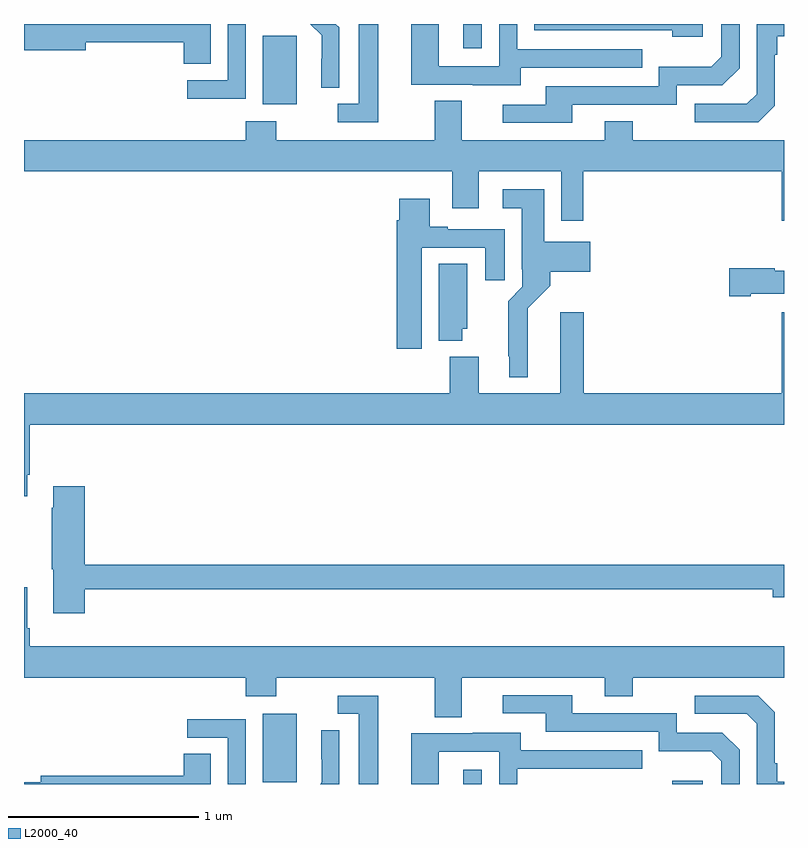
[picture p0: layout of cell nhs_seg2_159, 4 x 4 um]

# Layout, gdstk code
import gdstk
lib = gdstk.Library(unit=1e-6, precision=1e-09)
def R(c, l, rs):  # rectangles x0, y0, x1, y1
    for r in rs: c.add(gdstk.rectangle(r[:2], r[2:], *l))
def P(c, l, *ps):  # polygons
    for p in ps: c.add(gdstk.Polygon(p, *l))
L2000_40 = (2000, 40)

nhs_seg2_159 = lib.new_cell('nhs_seg2_159')
R(nhs_seg2_159, L2000_40, [(121.313,589.8,121.41,589.876), (122.411,589.8,122.572,589.816), (120.257,589.809,120.436,590.17), (120.257,593.378,120.436,593.739), (121.313,593.673,121.41,593.8)])
P(nhs_seg2_159, L2000_40, [(120.66,593.782),(120.642,593.8),(120.506,593.8),(120.566,593.741),(120.566,593.618),(120.564,593.618),(120.564,593.464),(120.66,593.464)],
  [(122.572,593.8),(121.686,593.8),(121.686,593.766),(122.411,593.766),(122.411,593.732),(122.572,593.732)],
  [(121.885,593.376),(122.436,593.376),(122.436,593.478),(122.676,593.478),(122.766,593.568),(122.766,593.8),(122.67,593.8),(122.67,593.628),(122.617,593.575),(122.34,593.575),(122.34,593.472),(121.745,593.472),(121.745,593.376),(121.521,593.376),(121.521,593.28),(121.885,593.28)],
  [(120.168,593.8),(120.072,593.8),(120.072,593.505),(119.859,593.505),(119.859,593.407),(120.168,593.407)],
  [(122.952,593.37),(122.952,593.639),(122.965,593.639),(122.965,593.735),(123,593.735),(123,593.8),(122.856,593.8),(122.856,593.43),(122.805,593.379),(122.529,593.379),(122.529,593.283),(122.865,593.283)],
  [(119.983,593.8),(119,593.8),(119,593.662),(119.326,593.662),(119.326,593.704),(119.84,593.704),(119.84,593.59),(119.983,593.59)],
  [(120.865,593.8),(120.761,593.8),(120.761,593.379),(120.651,593.379),(120.651,593.283),(120.865,593.283)],
  [(121.615,593.571),(122.255,593.571),(122.255,593.667),(121.596,593.667),(121.596,593.8),(121.5,593.8),(121.5,593.577),(121.182,593.577),(121.182,593.8),(121.037,593.8),(121.037,593.481),(121.361,593.481),(121.361,593.477),(121.615,593.477)],
  [(121.943,593.024),(122.989,593.024),(122.989,592.764),(123,592.764),(123,593.188),(122.205,593.188),(122.205,593.287),(122.057,593.287),(122.057,593.188),(121.303,593.188),(121.303,593.396),(121.163,593.396),(121.163,593.188),(120.327,593.188),(120.327,593.287),(120.167,593.287),(120.167,593.188),(119,593.188),(119,593.024),(121.253,593.024),(121.253,592.83),(121.393,592.83),(121.393,593.024),(121.827,593.024),(121.827,592.764),(121.943,592.764)],
  [(121.651,592.304),(121.769,592.422),(121.769,592.496),(121.981,592.496),(121.981,592.654),(121.738,592.654),(121.738,592.93),(121.521,592.93),(121.521,592.829),(121.619,592.829),(121.619,592.51),(121.623,592.51),(121.623,592.416),(121.549,592.342),(121.549,592.051),(121.553,592.051),(121.553,591.941),(121.651,591.941)],
  [(121.093,592.623),(121.427,592.623),(121.427,592.452),(121.531,592.452),(121.531,592.719),(121.231,592.719),(121.231,592.732),(121.135,592.732),(121.135,592.879),(120.974,592.879),(120.974,592.766),(120.962,592.766),(120.962,592.092),(121.093,592.092)],
  [(121.306,592.197),(121.333,592.197),(121.333,592.538),(121.184,592.538),(121.184,592.133),(121.306,592.133)],
  [(122.824,592.379),(123,592.379),(123,592.501),(122.952,592.501),(122.952,592.514),(122.712,592.514),(122.712,592.367),(122.824,592.367)],
  [(119.017,591.427),(119.03,591.427),(119.03,591.692),(123,591.692),(123,592.282),(122.987,592.282),(122.987,591.856),(121.946,591.856),(121.946,592.282),(121.823,592.282),(121.823,591.856),(121.393,591.856),(121.393,592.048),(121.241,592.048),(121.241,591.856),(119,591.856),(119,591.315),(119.017,591.315)],
  [(119.321,590.826),(122.942,590.826),(122.942,590.783),(123,590.783),(123,590.954),(119.321,590.954),(119.321,591.367),(119.153,591.367),(119.153,591.254),(119.146,591.254),(119.146,590.931),(119.153,590.931),(119.153,590.7),(119.321,590.7)],
  [(121.303,590.36),(122.057,590.36),(122.057,590.261),(122.205,590.261),(122.205,590.36),(123,590.36),(123,590.524),(119.03,590.524),(119.03,590.62),(119.017,590.62),(119.017,590.836),(119,590.836),(119,590.36),(120.167,590.36),(120.167,590.261),(120.327,590.261),(120.327,590.36),(121.163,590.36),(121.163,590.152),(121.303,590.152)],
  [(122.766,589.98),(122.676,590.07),(122.436,590.07),(122.436,590.172),(121.885,590.172),(121.885,590.268),(121.521,590.268),(121.521,590.172),(121.745,590.172),(121.745,590.076),(122.34,590.076),(122.34,589.973),(122.617,589.973),(122.67,589.92),(122.67,589.8),(122.766,589.8)],
  [(123,589.813),(122.965,589.813),(122.965,589.909),(122.952,589.909),(122.952,590.178),(122.865,590.265),(122.529,590.265),(122.529,590.169),(122.805,590.169),(122.856,590.118),(122.856,589.8),(123,589.8)],
  [(120.865,590.265),(120.651,590.265),(120.651,590.169),(120.761,590.169),(120.761,589.8),(120.865,589.8)],
  [(120.168,590.142),(119.859,590.142),(119.859,590.043),(120.072,590.043),(120.072,589.8),(120.168,589.8)],
  [(120.66,590.084),(120.564,590.084),(120.564,589.93),(120.566,589.93),(120.566,589.808),(120.558,589.8),(120.66,589.8)],
  [(121.182,589.971),(121.5,589.971),(121.5,589.8),(121.596,589.8),(121.596,589.881),(122.255,589.881),(122.255,589.977),(121.615,589.977),(121.615,590.071),(121.361,590.071),(121.361,590.067),(121.037,590.067),(121.037,589.8),(121.182,589.8)],
  [(119.983,589.958),(119.84,589.958),(119.84,589.844),(119.087,589.844),(119.087,589.808),(119,589.808),(119,589.8),(119.983,589.8)])

lib.write_gds('nhs_seg2_159.gds')
